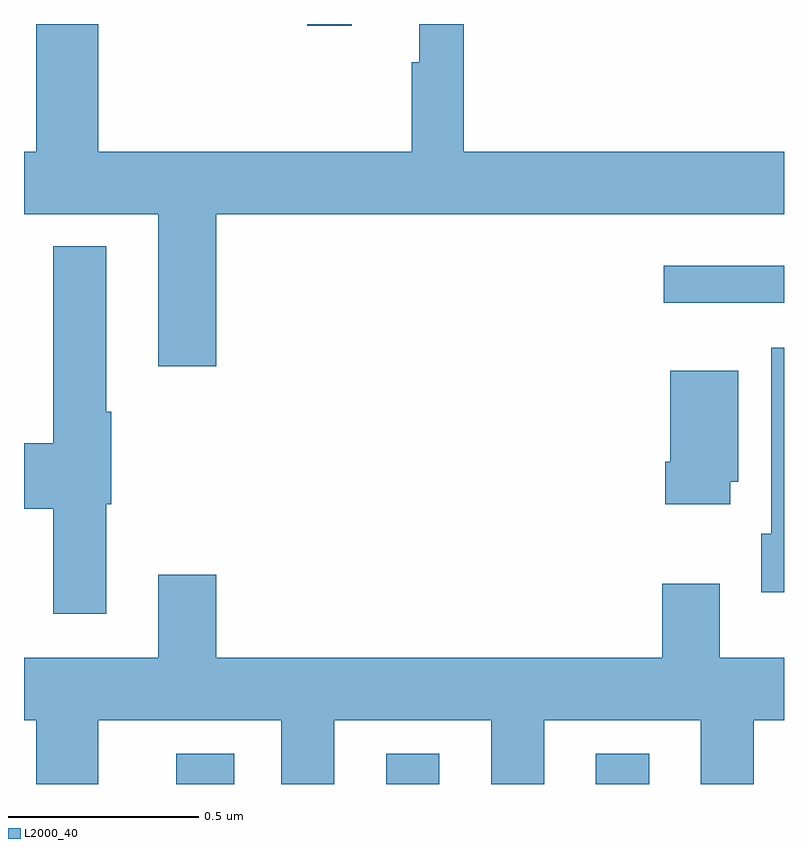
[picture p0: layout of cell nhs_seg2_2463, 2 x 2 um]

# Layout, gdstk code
import gdstk
lib = gdstk.Library(unit=1e-6, precision=1e-09)
def R(c, l, rs):  # rectangles x0, y0, x1, y1
    for r in rs: c.add(gdstk.rectangle(r[:2], r[2:], *l))
def P(c, l, *ps):  # polygons
    for p in ps: c.add(gdstk.Polygon(p, *l))
L2000_40 = (2000, 40)

nhs_seg2_2463 = lib.new_cell('nhs_seg2_2463')
R(nhs_seg2_2463, L2000_40, [(141.401,648.8,141.553,648.88), (141.953,648.8,142.093,648.88), (142.505,648.8,142.645,648.88), (142.683,650.067,143,650.164), (141.745,650.796,141.863,650.8)])
P(nhs_seg2_2463, L2000_40, [(141.506,650.3),(143,650.3),(143,650.464),(142.157,650.464),(142.157,650.8),(142.04,650.8),(142.04,650.7),(142.021,650.7),(142.021,650.464),(141.196,650.464),(141.196,650.8),(141.032,650.8),(141.032,650.464),(141,650.464),(141,650.3),(141.353,650.3),(141.353,649.899),(141.506,649.899)],
  [(141.217,649.536),(141.23,649.536),(141.23,649.78),(141.217,649.78),(141.217,650.215),(141.077,650.215),(141.077,649.697),(141,649.697),(141,649.525),(141.077,649.525),(141.077,649.248),(141.217,649.248)],
  [(143,649.948),(142.967,649.948),(142.967,649.458),(142.94,649.458),(142.94,649.304),(143,649.304)],
  [(142.858,649.596),(142.879,649.596),(142.879,649.888),(142.7,649.888),(142.7,649.648),(142.688,649.648),(142.688,649.536),(142.858,649.536)],
  [(141.196,648.968),(141.677,648.968),(141.677,648.8),(141.817,648.8),(141.817,648.968),(142.229,648.968),(142.229,648.8),(142.369,648.8),(142.369,648.968),(142.781,648.968),(142.781,648.8),(142.92,648.8),(142.92,648.968),(143,648.968),(143,649.132),(142.831,649.132),(142.831,649.327),(142.679,649.327),(142.679,649.132),(141.506,649.132),(141.506,649.351),(141.353,649.351),(141.353,649.132),(141,649.132),(141,648.968),(141.032,648.968),(141.032,648.8),(141.196,648.8)])

lib.write_gds('nhs_seg2_2463.gds')
